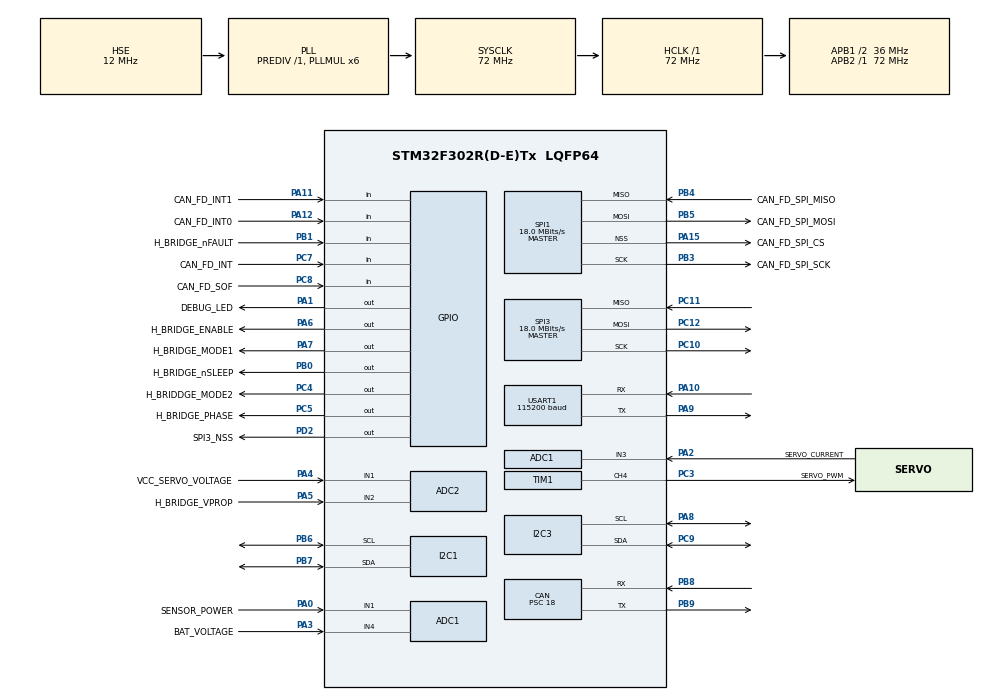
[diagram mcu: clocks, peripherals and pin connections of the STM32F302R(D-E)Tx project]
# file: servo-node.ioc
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ADC1.Channel-0\#ChannelRegularConversion=ADC_CHANNEL_1
ADC1.Channel-1\#ChannelRegularConversion=ADC_CHANNEL_3
ADC1.Channel-2\#ChannelRegularConversion=ADC_CHANNEL_4
ADC1.ContinuousConvMode=ENABLE
ADC1.EnableInjectedConversion=DISABLE
ADC1.NbrOfConversion=3
ADC1.NbrOfConversionFlag=1
ADC1.Offset-0\#ChannelRegularConversion=0
ADC1.Offset-1\#ChannelRegularConversion=0
ADC1.Offset-2\#ChannelRegularConversion=0
ADC1.OffsetNumber-0\#ChannelRegularConversion=ADC_OFFSET_NONE
ADC1.OffsetNumber-1\#ChannelRegularConversion=ADC_OFFSET_NONE
ADC1.OffsetNumber-2\#ChannelRegularConversion=ADC_OFFSET_NONE
ADC1.Rank-0\#ChannelRegularConversion=1
ADC1.Rank-1\#ChannelRegularConversion=2
ADC1.Rank-2\#ChannelRegularConversion=3
ADC1.SamplingTime-0\#ChannelRegularConversion=ADC_SAMPLETIME_19CYCLES_5
ADC1.SamplingTime-1\#ChannelRegularConversion=ADC_SAMPLETIME_19CYCLES_5
ADC1.SamplingTime-2\#ChannelRegularConversion=ADC_SAMPLETIME_19CYCLES_5
ADC1.SamplingTimeOPAMP-1\#ChannelRegularConversion=ADC_SAMPLETIME_19CYCLES_5
ADC1.SamplingTimeOPAMP-2\#ChannelRegularConversion=ADC_SAMPLETIME_19CYCLES_5
ADC1.SequencerNbRanks=3
ADC1.master=1
ADC2.Channel-0\#ChannelRegularConversion=ADC_CHANNEL_1
ADC2.Channel-1\#ChannelRegularConversion=ADC_CHANNEL_2
ADC2.ContinuousConvMode=ENABLE
ADC2.NbrOfConversion=2
ADC2.NbrOfConversionFlag=1
ADC2.Offset-0\#ChannelRegularConversion=0
ADC2.Offset-1\#ChannelRegularConversion=0
ADC2.OffsetNumber-0\#ChannelRegularConversion=ADC_OFFSET_NONE
ADC2.OffsetNumber-1\#ChannelRegularConversion=ADC_OFFSET_NONE
ADC2.Rank-0\#ChannelRegularConversion=1
ADC2.Rank-1\#ChannelRegularConversion=2
ADC2.SamplingTime-0\#ChannelRegularConversion=ADC_SAMPLETIME_19CYCLES_5
ADC2.SamplingTime-1\#ChannelRegularConversion=ADC_SAMPLETIME_19CYCLES_5
ADC2.SamplingTimeOPAMP-1\#ChannelRegularConversion=ADC_SAMPLETIME_19CYCLES_5
ADC2.SequencerNbRanks=2
CAN.BS1=CAN_BS1_13TQ
CAN.BS2=CAN_BS2_2TQ
CAN.CalculateBaudRate=125000
CAN.CalculateTimeBit=8000
CAN.CalculateTimeQuantum=500.0
CAN.Prescaler=18
Dma.ADC1.1.Direction=DMA_PERIPH_TO_MEMORY
Dma.ADC1.1.Instance=DMA1_Channel1
Dma.ADC1.1.MemDataAlignment=DMA_MDATAALIGN_HALFWORD
Dma.ADC1.1.MemInc=DMA_MINC_ENABLE
Dma.ADC1.1.Mode=DMA_NORMAL
Dma.ADC1.1.PeriphDataAlignment=DMA_PDATAALIGN_HALFWORD
Dma.ADC1.1.PeriphInc=DMA_PINC_DISABLE
Dma.ADC1.1.Priority=DMA_PRIORITY_LOW
Dma.ADC2.0.Direction=DMA_PERIPH_TO_MEMORY
Dma.ADC2.0.Instance=DMA2_Channel1
Dma.ADC2.0.MemDataAlignment=DMA_MDATAALIGN_HALFWORD
Dma.ADC2.0.MemInc=DMA_MINC_ENABLE
Dma.ADC2.0.Mode=DMA_NORMAL
Dma.ADC2.0.PeriphDataAlignment=DMA_PDATAALIGN_HALFWORD
Dma.ADC2.0.PeriphInc=DMA_PINC_DISABLE
Dma.ADC2.0.Priority=DMA_PRIORITY_LOW
Dma.Request0=ADC2
Dma.Request1=ADC1
FREERTOS.Tasks01=defaultTask,24,128,StartDefaultTask,Default,NULL,Dynamic,NULL,NULL
I2C1.I2C_Fall_Time=0
I2C1.I2C_Rise_Time=0
I2C1.Timing=0x10808DD3
I2C3.Timing=0x10808DD3
Mcu.Family=STM32F3
Mcu.Name=STM32F302R(D-E)Tx
Mcu.Package=LQFP64
Mcu.UserConstants=PWM_PSC_1MHZ,(72 - 1);PWM_PERIOD_50HZ,(20000 - 1);PWM_MID_POS_PULSE,((PWM_PERIOD_50HZ / 10 + PWM_PERIOD_50HZ / 20) / 2)
NVIC.DMA1_Channel1_IRQn=true\:5\:0\:false\:false\:true\:true\:false\:true\:true
NVIC.DMA2_Channel1_IRQn=true\:5\:0\:false\:false\:true\:true\:false\:true\:true
NVIC.PriorityGroup=NVIC_PRIORITYGROUP_4
NVIC.USB_HP_CAN_TX_IRQn=true\:5\:0\:false\:false\:true\:true\:true\:true\:true
PA0.GPIO_Label=SENSOR_POWER
PA0.Mode=IN1-Single-Ended
PA0.Signal=ADC1_IN1
PA1.GPIO_Label=DEBUG_LED
PA1.Signal=GPIO_Output
PA10.Mode=Asynchronous
PA10.Signal=USART1_RX
PA11.GPIO_Label=CAN_FD_INT1
PA11.Signal=GPIO_Input
PA12.GPIO_Label=CAN_FD_INT0
PA12.Signal=GPIO_Input
PA13.Mode=Serial_Wire
PA13.Signal=SYS_JTMS-SWDIO
PA14.Mode=Serial_Wire
PA14.Signal=SYS_JTCK-SWCLK
PA15.GPIO_Label=CAN_FD_SPI_CS
PA15.Mode=NSS_Signal_Hard_Output
PA15.Signal=SPI1_NSS
PA2.GPIO_Label=SERVO_CURRENT
PA2.Mode=IN3-Single-Ended
PA2.Signal=ADC1_IN3
PA3.GPIO_Label=BAT_VOLTAGE
PA3.Mode=IN4-Single-Ended
PA3.Signal=ADC1_IN4
PA4.GPIO_Label=VCC_SERVO_VOLTAGE
PA4.Mode=IN1-Single-Ended
PA4.Signal=ADC2_IN1
PA5.GPIO_Label=H_BRIDGE_VPROP
PA5.Mode=IN2-Single-Ended
PA5.Signal=ADC2_IN2
PA6.GPIO_Label=H_BRIDGE_ENABLE
PA6.Signal=GPIO_Output
PA7.GPIO_Label=H_BRIDGE_MODE1
PA7.Signal=GPIO_Output
PA8.Mode=I2C
PA8.Signal=I2C3_SCL
PA9.Mode=Asynchronous
PA9.Signal=USART1_TX
PB0.GPIO_Label=H_BRIDGE_nSLEEP
PB0.Signal=GPIO_Output
PB1.GPIO_Label=H_BRIDGE_nFAULT
PB1.Signal=GPIO_Input
PB3.GPIO_Label=CAN_FD_SPI_SCK
PB3.Mode=Full_Duplex_Master
PB3.Signal=SPI1_SCK
PB4.GPIO_Label=CAN_FD_SPI_MISO
PB4.Mode=Full_Duplex_Master
PB4.Signal=SPI1_MISO
PB5.GPIO_Label=CAN_FD_SPI_MOSI
PB5.Mode=Full_Duplex_Master
PB5.Signal=SPI1_MOSI
PB6.Mode=I2C
PB6.Signal=I2C1_SCL
PB7.Mode=I2C
PB7.Signal=I2C1_SDA
PB8.Mode=CAN_Activate
PB8.Signal=CAN_RX
PB9.Mode=CAN_Activate
PB9.Signal=CAN_TX
PC10.Mode=Full_Duplex_Master
PC10.Signal=SPI3_SCK
PC11.Mode=Full_Duplex_Master
PC11.Signal=SPI3_MISO
PC12.Mode=Full_Duplex_Master
PC12.Signal=SPI3_MOSI
PC3.GPIO_Label=SERVO_PWM
PC3.GPIO_Speed=GPIO_SPEED_FREQ_HIGH
PC3.Signal=S_TIM1_CH4
PC4.GPIO_Label=H_BRIDDGE_MODE2
PC4.Signal=GPIO_Output
PC5.GPIO_Label=H_BRIDGE_PHASE
PC5.Signal=GPIO_Output
PC7.GPIO_Label=CAN_FD_INT
PC7.Signal=GPIO_Input
PC8.GPIO_Label=CAN_FD_SOF
PC8.Signal=GPIO_Input
PC9.Mode=I2C
PC9.Signal=I2C3_SDA
PD2.GPIO_Label=SPI3_NSS
PD2.Signal=GPIO_Output
PF0-OSC_IN.Mode=HSE-External-Oscillator
PF0-OSC_IN.Signal=RCC_OSC_IN
PF1-OSC_OUT.Mode=HSE-External-Oscillator
PF1-OSC_OUT.Signal=RCC_OSC_OUT
ProjectManager.HeapSize=0x200
ProjectManager.StackSize=0x400
ProjectManager.TargetToolchain=Makefile
RCC.AHBFreq_Value=72000000
RCC.APB1CLKDivider=RCC_HCLK_DIV2
RCC.APB1Freq_Value=36000000
RCC.APB1TimFreq_Value=72000000
RCC.APB2Freq_Value=72000000
RCC.APB2TimFreq_Value=72000000
RCC.CortexFreq_Value=72000000
RCC.HCLKFreq_Value=72000000
RCC.HSE_VALUE=12000000
RCC.HSI_VALUE=8000000
RCC.I2c1ClockSelection=RCC_I2C1CLKSOURCE_SYSCLK
RCC.I2c3ClockSelection=RCC_I2C3CLKSOURCE_SYSCLK
RCC.LSE_VALUE=32768
RCC.PLLMUL=RCC_PLL_MUL6
RCC.PLLSourceVirtual=RCC_PLLSOURCE_HSE
RCC.SYSCLKFreq_VALUE=72000000
RCC.SYSCLKSourceVirtual=RCC_SYSCLKSOURCE_PLLCLK
RCC.USBFreq_Value=72000000
SH.S_TIM1_CH4.0=TIM1_CH4,PWM Generation4 CH4
SPI1.BaudRatePrescaler=SPI_BAUDRATEPRESCALER_4
SPI1.CalculateBaudRate=18.0 MBits/s
SPI1.Direction=SPI_DIRECTION_2LINES
SPI1.Mode=SPI_MODE_MASTER
SPI1.VirtualNSS=VM_NSSHARD
SPI1.VirtualType=VM_MASTER
SPI3.BaudRatePrescaler=SPI_BAUDRATEPRESCALER_2
SPI3.CalculateBaudRate=18.0 MBits/s
SPI3.Direction=SPI_DIRECTION_2LINES
SPI3.Mode=SPI_MODE_MASTER
SPI3.VirtualType=VM_MASTER
TIM1.AutoReloadPreload=TIM_AUTORELOAD_PRELOAD_ENABLE
TIM1.Channel-PWM\ Generation4\ CH4=TIM_CHANNEL_4
TIM1.OCFastMode_PWM-PWM\ Generation4\ CH4=TIM_OCFAST_DISABLE
TIM1.Period=PWM_PERIOD_50HZ
TIM1.Prescaler=PWM_PSC_1MHZ
TIM1.Pulse=PWM_MID_POS_PULSE
TIM1.Pulse-PWM\ Generation4\ CH4=PWM_MID_POS_PULSE
USART1.BaudRate=115200
USART1.VirtualMode-Asynchronous=VM_ASYNC
VP_FREERTOS_VS_CMSIS_V2.Mode=CMSIS_V2
VP_TIM1_VS_ClockSourceINT.Mode=Internal
board=custom

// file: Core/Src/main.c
/* USER CODE BEGIN Header */
/**
 ******************************************************************************
 * @file           : main.c
 * @brief          : Main program body
 ******************************************************************************
 * @attention
 *
 * Copyright (c) 2023 STMicroelectronics.
 * All rights reserved.
 *
 * This software is licensed under terms that can be found in the LICENSE file
 * in the root directory of this software component.
 * If no LICENSE file comes with this software, it is provided AS-IS.
 *
 ******************************************************************************
 */

// Disable warnings for generated code
// NOLINTBEGIN(cppcoreguidelines-avoid-magic-numbers,readability-magic-numbers)

/* USER CODE END Header */
#include "main.h"

#include "cmsis_os.h"

/* USER CODE BEGIN Includes */
#include <stdio.h>
#include <string.h>

#include "app.h"
#include "queue.h"
#include "task.h"
#include "timers.h"
#include "utils.h"

/* USER CODE END Includes */

/* USER CODE BEGIN PD */

// How often the periodic tasks should run (ms)
#define DEFAULT_TASK_PERIOD_MS 20
#define MEASURE_TASK_PERIOD_MS 100

#define CAN_MESSAGE_QUEUE_LENGTH 10

/* USER CODE END PD */

ADC_HandleTypeDef hadc1;
ADC_HandleTypeDef hadc2;
DMA_HandleTypeDef hdma_adc1;
DMA_HandleTypeDef hdma_adc2;

CAN_HandleTypeDef hcan;

I2C_HandleTypeDef hi2c1;
I2C_HandleTypeDef hi2c3;

SPI_HandleTypeDef hspi1;
SPI_HandleTypeDef hspi3;

TIM_HandleTypeDef htim1;

UART_HandleTypeDef huart1;

/* Definitions for defaultTask */
osThreadId_t defaultTaskHandle;
const osThreadAttr_t defaultTask_attributes = {
    .name = "defaultTask",
    .stack_size = 128 * 4,
    .priority = (osPriority_t)osPriorityNormal,
};
/* USER CODE BEGIN PV */

osThreadId_t CANTxTaskHandle;
const osThreadAttr_t CANTxTask_attributes = {
    .name = "CANTxTask",
    .stack_size = 128 * 4,
    .priority = (osPriority_t)osPriorityBelowNormal,
};

osThreadId_t measureTaskHandle;
const osThreadAttr_t measureTask_attributes = {
    .name = "measureTask",
    .stack_size = 128 * 4,
    .priority = (osPriority_t)osPriorityBelowNormal,
};

QueueHandle_t CANMessageQueue;

/* USER CODE END PV */

void SystemClock_Config(void);
static void MX_GPIO_Init(void);
static void MX_DMA_Init(void);
static void MX_CAN_Init(void);
static void MX_USART1_UART_Init(void);
static void MX_SPI1_Init(void);
static void MX_ADC1_Init(void);
static void MX_ADC2_Init(void);
static void MX_I2C1_Init(void);
static void MX_I2C3_Init(void);
static void MX_SPI3_Init(void);
static void MX_TIM1_Init(void);
void StartDefaultTask(void *argument);

/* USER CODE BEGIN PFP */

void StartCANTxTask(void *argument);
void StartMeasureTask(void *argument);

/* USER CODE END PFP */

int main(void) {

  /* MCU Configuration--------------------------------------------------------*/

  /* Reset of all peripherals, Initializes the Flash interface and the Systick.
   */
  HAL_Init();

  /* USER CODE BEGIN Init */

  if (FlashRWInit() != APP_OK) {
    Error_Handler();
  }

  /* USER CODE END Init */

  /* Configure the system clock */
  SystemClock_Config();

  /* Initialize all configured peripherals */
  MX_GPIO_Init();
  MX_DMA_Init();
  MX_CAN_Init();
  MX_USART1_UART_Init();
  MX_SPI1_Init();
  MX_ADC1_Init();
  MX_ADC2_Init();
  MX_I2C1_Init();
  MX_I2C3_Init();
  MX_SPI3_Init();
  MX_TIM1_Init();
  /* USER CODE BEGIN 2 */

  InitPotentiometers();

  /* USER CODE END 2 */

  /* Init scheduler */
  osKernelInitialize();

  /* USER CODE BEGIN RTOS_QUEUES */

  CANMessageQueue = xQueueCreate(CAN_MESSAGE_QUEUE_LENGTH, sizeof(CANFrame));

  /* USER CODE END RTOS_QUEUES */

  /* Create the thread(s) */
  /* creation of defaultTask */
  defaultTaskHandle =
      osThreadNew(StartDefaultTask, NULL, &defaultTask_attributes);

  /* USER CODE BEGIN RTOS_THREADS */

  CANTxTaskHandle = osThreadNew(StartCANTxTask, NULL, &CANTxTask_attributes);
  measureTaskHandle =
      osThreadNew(StartMeasureTask, NULL, &measureTask_attributes);

  /* USER CODE END RTOS_THREADS */

  /* Start scheduler */
  osKernelStart();
  /* We should never get here as control is now taken by the scheduler */
  /* Infinite loop */
  while (1) {

  }
}

void SystemClock_Config(void) {
  RCC_OscInitTypeDef RCC_OscInitStruct = {0};
  RCC_ClkInitTypeDef RCC_ClkInitStruct = {0};
  RCC_PeriphCLKInitTypeDef PeriphClkInit = {0};

  /** Initializes the RCC Oscillators according to the specified parameters
   * in the RCC_OscInitTypeDef structure.
   */
  RCC_OscInitStruct.OscillatorType = RCC_OSCILLATORTYPE_HSE;
  RCC_OscInitStruct.HSEState = RCC_HSE_ON;
  RCC_OscInitStruct.HSIState = RCC_HSI_ON;
  RCC_OscInitStruct.PLL.PLLState = RCC_PLL_ON;
  RCC_OscInitStruct.PLL.PLLSource = RCC_PLLSOURCE_HSE;
  RCC_OscInitStruct.PLL.PLLMUL = RCC_PLL_MUL6;
  RCC_OscInitStruct.PLL.PREDIV = RCC_PREDIV_DIV1;
  if (HAL_RCC_OscConfig(&RCC_OscInitStruct) != HAL_OK) {
    Error_Handler();
  }

  /** Initializes the CPU, AHB and APB buses clocks
   */
  RCC_ClkInitStruct.ClockType = RCC_CLOCKTYPE_HCLK | RCC_CLOCKTYPE_SYSCLK |
                                RCC_CLOCKTYPE_PCLK1 | RCC_CLOCKTYPE_PCLK2;
  RCC_ClkInitStruct.SYSCLKSource = RCC_SYSCLKSOURCE_PLLCLK;
  RCC_ClkInitStruct.AHBCLKDivider = RCC_SYSCLK_DIV1;
  RCC_ClkInitStruct.APB1CLKDivider = RCC_HCLK_DIV2;
  RCC_ClkInitStruct.APB2CLKDivider = RCC_HCLK_DIV1;

  if (HAL_RCC_ClockConfig(&RCC_ClkInitStruct, FLASH_LATENCY_2) != HAL_OK) {
    Error_Handler();
  }
  PeriphClkInit.PeriphClockSelection = RCC_PERIPHCLK_USART1 |
                                       RCC_PERIPHCLK_I2C1 | RCC_PERIPHCLK_I2C3 |
                                       RCC_PERIPHCLK_TIM1 | RCC_PERIPHCLK_ADC12;
  PeriphClkInit.Usart1ClockSelection = RCC_USART1CLKSOURCE_PCLK2;
  PeriphClkInit.Adc12ClockSelection = RCC_ADC12PLLCLK_DIV1;
  PeriphClkInit.I2c1ClockSelection = RCC_I2C1CLKSOURCE_SYSCLK;
  PeriphClkInit.I2c3ClockSelection = RCC_I2C3CLKSOURCE_SYSCLK;
  PeriphClkInit.Tim1ClockSelection = RCC_TIM1CLK_HCLK;
  if (HAL_RCCEx_PeriphCLKConfig(&PeriphClkInit) != HAL_OK) {
    Error_Handler();
  }
}

static void MX_ADC1_Init(void) {

  ADC_MultiModeTypeDef multimode = {0};
  ADC_ChannelConfTypeDef sConfig = {0};

  /** Common config
   */
  hadc1.Instance = ADC1;
  hadc1.Init.ClockPrescaler = ADC_CLOCK_ASYNC_DIV1;
  hadc1.Init.Resolution = ADC_RESOLUTION_12B;
  hadc1.Init.ScanConvMode = ADC_SCAN_ENABLE;
  hadc1.Init.ContinuousConvMode = ENABLE;
  hadc1.Init.DiscontinuousConvMode = DISABLE;
  hadc1.Init.ExternalTrigConvEdge = ADC_EXTERNALTRIGCONVEDGE_NONE;
  hadc1.Init.ExternalTrigConv = ADC_SOFTWARE_START;
  hadc1.Init.DataAlign = ADC_DATAALIGN_RIGHT;
  hadc1.Init.NbrOfConversion = 3;
  hadc1.Init.DMAContinuousRequests = DISABLE;
  hadc1.Init.EOCSelection = ADC_EOC_SINGLE_CONV;
  hadc1.Init.LowPowerAutoWait = DISABLE;
  hadc1.Init.Overrun = ADC_OVR_DATA_OVERWRITTEN;
  if (HAL_ADC_Init(&hadc1) != HAL_OK) {
    Error_Handler();
  }

  /** Configure the ADC multi-mode
   */
  multimode.Mode = ADC_MODE_INDEPENDENT;
  if (HAL_ADCEx_MultiModeConfigChannel(&hadc1, &multimode) != HAL_OK) {
    Error_Handler();
  }

  /** Configure Regular Channel
   */
  sConfig.Channel = ADC_CHANNEL_1;
  sConfig.Rank = ADC_REGULAR_RANK_1;
  sConfig.SingleDiff = ADC_SINGLE_ENDED;
  sConfig.SamplingTime = ADC_SAMPLETIME_19CYCLES_5;
  sConfig.OffsetNumber = ADC_OFFSET_NONE;
  sConfig.Offset = 0;
  if (HAL_ADC_ConfigChannel(&hadc1, &sConfig) != HAL_OK) {
    Error_Handler();
  }

  /** Configure Regular Channel
   */
  sConfig.Channel = ADC_CHANNEL_3;
  sConfig.Rank = ADC_REGULAR_RANK_2;
  if (HAL_ADC_ConfigChannel(&hadc1, &sConfig) != HAL_OK) {
    Error_Handler();
  }

  /** Configure Regular Channel
   */
  sConfig.Channel = ADC_CHANNEL_4;
  sConfig.Rank = ADC_REGULAR_RANK_3;
  if (HAL_ADC_ConfigChannel(&hadc1, &sConfig) != HAL_OK) {
    Error_Handler();
  }
  /* USER CODE BEGIN ADC1_Init 2 */

  if (HAL_ADCEx_Calibration_Start(&hadc1, ADC_SINGLE_ENDED) != HAL_OK) {
    Error_Handler();
  }

  /* USER CODE END ADC1_Init 2 */
}

static void MX_ADC2_Init(void) {

  ADC_ChannelConfTypeDef sConfig = {0};

  /** Common config
   */
  hadc2.Instance = ADC2;
  hadc2.Init.ClockPrescaler = ADC_CLOCK_ASYNC_DIV1;
  hadc2.Init.Resolution = ADC_RESOLUTION_12B;
  hadc2.Init.ScanConvMode = ADC_SCAN_ENABLE;
  hadc2.Init.ContinuousConvMode = ENABLE;
  hadc2.Init.DiscontinuousConvMode = DISABLE;
  hadc2.Init.ExternalTrigConvEdge = ADC_EXTERNALTRIGCONVEDGE_NONE;
  hadc2.Init.ExternalTrigConv = ADC_SOFTWARE_START;
  hadc2.Init.DataAlign = ADC_DATAALIGN_RIGHT;
  hadc2.Init.NbrOfConversion = 2;
  hadc2.Init.DMAContinuousRequests = DISABLE;
  hadc2.Init.EOCSelection = ADC_EOC_SINGLE_CONV;
  hadc2.Init.LowPowerAutoWait = DISABLE;
  hadc2.Init.Overrun = ADC_OVR_DATA_OVERWRITTEN;
  if (HAL_ADC_Init(&hadc2) != HAL_OK) {
    Error_Handler();
  }

  /** Configure Regular Channel
   */
  sConfig.Channel = ADC_CHANNEL_1;
  sConfig.Rank = ADC_REGULAR_RANK_1;
  sConfig.SingleDiff = ADC_SINGLE_ENDED;
  sConfig.SamplingTime = ADC_SAMPLETIME_19CYCLES_5;
  sConfig.OffsetNumber = ADC_OFFSET_NONE;
  sConfig.Offset = 0;
  if (HAL_ADC_ConfigChannel(&hadc2, &sConfig) != HAL_OK) {
    Error_Handler();
  }

  /** Configure Regular Channel
   */
  sConfig.Channel = ADC_CHANNEL_2;
  sConfig.Rank = ADC_REGULAR_RANK_2;
  if (HAL_ADC_ConfigChannel(&hadc2, &sConfig) != HAL_OK) {
    Error_Handler();
  }
  /* USER CODE BEGIN ADC2_Init 2 */

  if (HAL_ADCEx_Calibration_Start(&hadc2, ADC_SINGLE_ENDED) != HAL_OK) {
    Error_Handler();
  }

  /* USER CODE END ADC2_Init 2 */
}

static void MX_CAN_Init(void) {

  hcan.Instance = CAN;
  hcan.Init.Prescaler = 18;
  hcan.Init.Mode = CAN_MODE_NORMAL;
  hcan.Init.SyncJumpWidth = CAN_SJW_1TQ;
  hcan.Init.TimeSeg1 = CAN_BS1_13TQ;
  hcan.Init.TimeSeg2 = CAN_BS2_2TQ;
  hcan.Init.TimeTriggeredMode = DISABLE;
  hcan.Init.AutoBusOff = DISABLE;
  hcan.Init.AutoWakeUp = DISABLE;
  hcan.Init.AutoRetransmission = DISABLE;
  hcan.Init.ReceiveFifoLocked = DISABLE;
  hcan.Init.TransmitFifoPriority = DISABLE;
  if (HAL_CAN_Init(&hcan) != HAL_OK) {
    Error_Handler();
  }
}

static void MX_I2C1_Init(void) {

  hi2c1.Instance = I2C1;
  hi2c1.Init.Timing = 0x10808DD3;
  hi2c1.Init.OwnAddress1 = 0;
  hi2c1.Init.AddressingMode = I2C_ADDRESSINGMODE_7BIT;
  hi2c1.Init.DualAddressMode = I2C_DUALADDRESS_DISABLE;
  hi2c1.Init.OwnAddress2 = 0;
  hi2c1.Init.OwnAddress2Masks = I2C_OA2_NOMASK;
  hi2c1.Init.GeneralCallMode = I2C_GENERALCALL_DISABLE;
  hi2c1.Init.NoStretchMode = I2C_NOSTRETCH_DISABLE;
  if (HAL_I2C_Init(&hi2c1) != HAL_OK) {
    Error_Handler();
  }

  /** Configure Analogue filter
   */
  if (HAL_I2CEx_ConfigAnalogFilter(&hi2c1, I2C_ANALOGFILTER_ENABLE) != HAL_OK) {
    Error_Handler();
  }

  /** Configure Digital filter
   */
  if (HAL_I2CEx_ConfigDigitalFilter(&hi2c1, 0) != HAL_OK) {
    Error_Handler();
  }
}

static void MX_I2C3_Init(void) {

  hi2c3.Instance = I2C3;
  hi2c3.Init.Timing = 0x10808DD3;
  hi2c3.Init.OwnAddress1 = 0;
  hi2c3.Init.AddressingMode = I2C_ADDRESSINGMODE_7BIT;
  hi2c3.Init.DualAddressMode = I2C_DUALADDRESS_DISABLE;
  hi2c3.Init.OwnAddress2 = 0;
  hi2c3.Init.OwnAddress2Masks = I2C_OA2_NOMASK;
  hi2c3.Init.GeneralCallMode = I2C_GENERALCALL_DISABLE;
  hi2c3.Init.NoStretchMode = I2C_NOSTRETCH_DISABLE;
  if (HAL_I2C_Init(&hi2c3) != HAL_OK) {
    Error_Handler();
  }

  /** Configure Analogue filter
   */
  if (HAL_I2CEx_ConfigAnalogFilter(&hi2c3, I2C_ANALOGFILTER_ENABLE) != HAL_OK) {
    Error_Handler();
  }

  /** Configure Digital filter
   */
  if (HAL_I2CEx_ConfigDigitalFilter(&hi2c3, 0) != HAL_OK) {
    Error_Handler();
  }
}

static void MX_SPI1_Init(void) {

  /* SPI1 parameter configuration*/
  hspi1.Instance = SPI1;
  hspi1.Init.Mode = SPI_MODE_MASTER;
  hspi1.Init.Direction = SPI_DIRECTION_2LINES;
  hspi1.Init.DataSize = SPI_DATASIZE_4BIT;
  hspi1.Init.CLKPolarity = SPI_POLARITY_LOW;
  hspi1.Init.CLKPhase = SPI_PHASE_1EDGE;
  hspi1.Init.NSS = SPI_NSS_HARD_OUTPUT;
  hspi1.Init.BaudRatePrescaler = SPI_BAUDRATEPRESCALER_4;
  hspi1.Init.FirstBit = SPI_FIRSTBIT_MSB;
  hspi1.Init.TIMode = SPI_TIMODE_DISABLE;
  hspi1.Init.CRCCalculation = SPI_CRCCALCULATION_DISABLE;
  hspi1.Init.CRCPolynomial = 7;
  hspi1.Init.CRCLength = SPI_CRC_LENGTH_DATASIZE;
  hspi1.Init.NSSPMode = SPI_NSS_PULSE_ENABLE;
  if (HAL_SPI_Init(&hspi1) != HAL_OK) {
    Error_Handler();
  }
}

static void MX_SPI3_Init(void) {

  /* SPI3 parameter configuration*/
  hspi3.Instance = SPI3;
  hspi3.Init.Mode = SPI_MODE_MASTER;
  hspi3.Init.Direction = SPI_DIRECTION_2LINES;
  hspi3.Init.DataSize = SPI_DATASIZE_4BIT;
  hspi3.Init.CLKPolarity = SPI_POLARITY_LOW;
  hspi3.Init.CLKPhase = SPI_PHASE_1EDGE;
  hspi3.Init.NSS = SPI_NSS_SOFT;
  hspi3.Init.BaudRatePrescaler = SPI_BAUDRATEPRESCALER_2;
  hspi3.Init.FirstBit = SPI_FIRSTBIT_MSB;
  hspi3.Init.TIMode = SPI_TIMODE_DISABLE;
  hspi3.Init.CRCCalculation = SPI_CRCCALCULATION_DISABLE;
  hspi3.Init.CRCPolynomial = 7;
  hspi3.Init.CRCLength = SPI_CRC_LENGTH_DATASIZE;
  hspi3.Init.NSSPMode = SPI_NSS_PULSE_ENABLE;
  if (HAL_SPI_Init(&hspi3) != HAL_OK) {
    Error_Handler();
  }
}

static void MX_TIM1_Init(void) {

  TIM_ClockConfigTypeDef sClockSourceConfig = {0};
  TIM_MasterConfigTypeDef sMasterConfig = {0};
  TIM_OC_InitTypeDef sConfigOC = {0};
  TIM_BreakDeadTimeConfigTypeDef sBreakDeadTimeConfig = {0};

  htim1.Instance = TIM1;
  htim1.Init.Prescaler = PWM_PSC_1MHZ;
  htim1.Init.CounterMode = TIM_COUNTERMODE_UP;
  htim1.Init.Period = PWM_PERIOD_50HZ;
  htim1.Init.ClockDivision = TIM_CLOCKDIVISION_DIV1;
  htim1.Init.RepetitionCounter = 0;
  htim1.Init.AutoReloadPreload = TIM_AUTORELOAD_PRELOAD_ENABLE;
  if (HAL_TIM_Base_Init(&htim1) != HAL_OK) {
    Error_Handler();
  }
  sClockSourceConfig.ClockSource = TIM_CLOCKSOURCE_INTERNAL;
  if (HAL_TIM_ConfigClockSource(&htim1, &sClockSourceConfig) != HAL_OK) {
    Error_Handler();
  }
  if (HAL_TIM_PWM_Init(&htim1) != HAL_OK) {
    Error_Handler();
  }
  sMasterConfig.MasterOutputTrigger = TIM_TRGO_RESET;
  sMasterConfig.MasterOutputTrigger2 = TIM_TRGO2_RESET;
  sMasterConfig.MasterSlaveMode = TIM_MASTERSLAVEMODE_DISABLE;
  if (HAL_TIMEx_MasterConfigSynchronization(&htim1, &sMasterConfig) != HAL_OK) {
    Error_Handler();
  }
  sConfigOC.OCMode = TIM_OCMODE_PWM1;
  sConfigOC.Pulse = PWM_MID_POS_PULSE;
  sConfigOC.OCPolarity = TIM_OCPOLARITY_HIGH;
  sConfigOC.OCFastMode = TIM_OCFAST_DISABLE;
  sConfigOC.OCIdleState = TIM_OCIDLESTATE_RESET;
  sConfigOC.OCNIdleState = TIM_OCNIDLESTATE_RESET;
  if (HAL_TIM_PWM_ConfigChannel(&htim1, &sConfigOC, TIM_CHANNEL_4) != HAL_OK) {
    Error_Handler();
  }
  sBreakDeadTimeConfig.OffStateRunMode = TIM_OSSR_DISABLE;
  sBreakDeadTimeConfig.OffStateIDLEMode = TIM_OSSI_DISABLE;
  sBreakDeadTimeConfig.LockLevel = TIM_LOCKLEVEL_OFF;
  sBreakDeadTimeConfig.DeadTime = 0;
  sBreakDeadTimeConfig.BreakState = TIM_BREAK_DISABLE;
  sBreakDeadTimeConfig.BreakPolarity = TIM_BREAKPOLARITY_HIGH;
  sBreakDeadTimeConfig.BreakFilter = 0;
  sBreakDeadTimeConfig.Break2State = TIM_BREAK2_DISABLE;
  sBreakDeadTimeConfig.Break2Polarity = TIM_BREAK2POLARITY_HIGH;
  sBreakDeadTimeConfig.Break2Filter = 0;
  sBreakDeadTimeConfig.AutomaticOutput = TIM_AUTOMATICOUTPUT_DISABLE;
  if (HAL_TIMEx_ConfigBreakDeadTime(&htim1, &sBreakDeadTimeConfig) != HAL_OK) {
    Error_Handler();
  }
  HAL_TIM_MspPostInit(&htim1);
}

static void MX_USART1_UART_Init(void) {

  huart1.Instance = USART1;
  huart1.Init.BaudRate = 115200;
  huart1.Init.WordLength = UART_WORDLENGTH_8B;
  huart1.Init.StopBits = UART_STOPBITS_1;
  huart1.Init.Parity = UART_PARITY_NONE;
  huart1.Init.Mode = UART_MODE_TX_RX;
  huart1.Init.HwFlowCtl = UART_HWCONTROL_NONE;
  huart1.Init.OverSampling = UART_OVERSAMPLING_16;
  huart1.Init.OneBitSampling = UART_ONE_BIT_SAMPLE_DISABLE;
  huart1.AdvancedInit.AdvFeatureInit = UART_ADVFEATURE_NO_INIT;
  if (HAL_UART_Init(&huart1) != HAL_OK) {
    Error_Handler();
  }
}

static void MX_DMA_Init(void) {
  /* DMA controller clock enable */
  __HAL_RCC_DMA2_CLK_ENABLE();
  __HAL_RCC_DMA1_CLK_ENABLE();

  /* DMA interrupt init */
  /* DMA1_Channel1_IRQn interrupt configuration */
  HAL_NVIC_SetPriority(DMA1_Channel1_IRQn, 5, 0);
  HAL_NVIC_EnableIRQ(DMA1_Channel1_IRQn);
  /* DMA2_Channel1_IRQn interrupt configuration */
  HAL_NVIC_SetPriority(DMA2_Channel1_IRQn, 5, 0);
  HAL_NVIC_EnableIRQ(DMA2_Channel1_IRQn);
}

static void MX_GPIO_Init(void) {
  GPIO_InitTypeDef GPIO_InitStruct = {0};

  /* GPIO Ports Clock Enable */
  __HAL_RCC_GPIOF_CLK_ENABLE();
  __HAL_RCC_GPIOC_CLK_ENABLE();
  __HAL_RCC_GPIOA_CLK_ENABLE();
  __HAL_RCC_GPIOB_CLK_ENABLE();
  __HAL_RCC_GPIOD_CLK_ENABLE();

  /*Configure GPIO pin Output Level */
  HAL_GPIO_WritePin(GPIOA,
                    DEBUG_LED_Pin | H_BRIDGE_ENABLE_Pin | H_BRIDGE_MODE1_Pin,
                    GPIO_PIN_RESET);

  /*Configure GPIO pin Output Level */
  HAL_GPIO_WritePin(GPIOC, H_BRIDDGE_MODE2_Pin | H_BRIDGE_PHASE_Pin,
                    GPIO_PIN_RESET);

  /*Configure GPIO pin Output Level */
  HAL_GPIO_WritePin(H_BRIDGE_nSLEEP_GPIO_Port, H_BRIDGE_nSLEEP_Pin,
                    GPIO_PIN_RESET);

  /*Configure GPIO pin Output Level */
  HAL_GPIO_WritePin(SPI3_NSS_GPIO_Port, SPI3_NSS_Pin, GPIO_PIN_RESET);

  /*Configure GPIO pins : DEBUG_LED_Pin H_BRIDGE_ENABLE_Pin H_BRIDGE_MODE1_Pin
   */
  GPIO_InitStruct.Pin =
      DEBUG_LED_Pin | H_BRIDGE_ENABLE_Pin | H_BRIDGE_MODE1_Pin;
  GPIO_InitStruct.Mode = GPIO_MODE_OUTPUT_PP;
  GPIO_InitStruct.Pull = GPIO_NOPULL;
  GPIO_InitStruct.Speed = GPIO_SPEED_FREQ_LOW;
  HAL_GPIO_Init(GPIOA, &GPIO_InitStruct);

  /*Configure GPIO pins : H_BRIDDGE_MODE2_Pin H_BRIDGE_PHASE_Pin */
  GPIO_InitStruct.Pin = H_BRIDDGE_MODE2_Pin | H_BRIDGE_PHASE_Pin;
  GPIO_InitStruct.Mode = GPIO_MODE_OUTPUT_PP;
  GPIO_InitStruct.Pull = GPIO_NOPULL;
  GPIO_InitStruct.Speed = GPIO_SPEED_FREQ_LOW;
  HAL_GPIO_Init(GPIOC, &GPIO_InitStruct);

  /*Configure GPIO pin : H_BRIDGE_nSLEEP_Pin */
  GPIO_InitStruct.Pin = H_BRIDGE_nSLEEP_Pin;
  GPIO_InitStruct.Mode = GPIO_MODE_OUTPUT_PP;
  GPIO_InitStruct.Pull = GPIO_NOPULL;
  GPIO_InitStruct.Speed = GPIO_SPEED_FREQ_LOW;
  HAL_GPIO_Init(H_BRIDGE_nSLEEP_GPIO_Port, &GPIO_InitStruct);

  /*Configure GPIO pin : H_BRIDGE_nFAULT_Pin */
  GPIO_InitStruct.Pin = H_BRIDGE_nFAULT_Pin;
  GPIO_InitStruct.Mode = GPIO_MODE_INPUT;
  GPIO_InitStruct.Pull = GPIO_NOPULL;
  HAL_GPIO_Init(H_BRIDGE_nFAULT_GPIO_Port, &GPIO_InitStruct);

  /*Configure GPIO pins : CAN_FD_INT_Pin CAN_FD_SOF_Pin */
  GPIO_InitStruct.Pin = CAN_FD_INT_Pin | CAN_FD_SOF_Pin;
  GPIO_InitStruct.Mode = GPIO_MODE_INPUT;
  GPIO_InitStruct.Pull = GPIO_NOPULL;
  HAL_GPIO_Init(GPIOC, &GPIO_InitStruct);

  /*Configure GPIO pins : CAN_FD_INT1_Pin CAN_FD_INT0_Pin */
  GPIO_InitStruct.Pin = CAN_FD_INT1_Pin | CAN_FD_INT0_Pin;
  GPIO_InitStruct.Mode = GPIO_MODE_INPUT;
  GPIO_InitStruct.Pull = GPIO_NOPULL;
  HAL_GPIO_Init(GPIOA, &GPIO_InitStruct);

  /*Configure GPIO pin : SPI3_NSS_Pin */
  GPIO_InitStruct.Pin = SPI3_NSS_Pin;
  GPIO_InitStruct.Mode = GPIO_MODE_OUTPUT_PP;
  GPIO_InitStruct.Pull = GPIO_NOPULL;
  GPIO_InitStruct.Speed = GPIO_SPEED_FREQ_LOW;
  HAL_GPIO_Init(SPI3_NSS_GPIO_Port, &GPIO_InitStruct);

}

/* USER CODE BEGIN 4 */

// NOLINTEND(cppcoreguidelines-avoid-magic-numbers,readability-magic-numbers)

void HAL_ADC_ConvCpltCallback(ADC_HandleTypeDef *hadc) {
  UNUSED(hadc);
  NotifyTask(measureTaskHandle);
}

void defaultTaskTimer(TimerHandle_t xTimer) {
  UNUSED(xTimer);
  NotifyTask(defaultTaskHandle);
}

void measureTaskTimer(TimerHandle_t xTimer) {
  UNUSED(xTimer);
  NotifyTask(measureTaskHandle);
}

void mailboxFreeCallback(CAN_HandleTypeDef *_hcan) {
  // Only notify when going from 0 free mailboxes to 1 free
  if (HAL_CAN_GetTxMailboxesFreeLevel(_hcan) <= 1) {
    NotifyTask(CANTxTaskHandle);
  }
}

void HAL_CAN_TxMailbox0CompleteCallback(CAN_HandleTypeDef *_hcan) {
  mailboxFreeCallback(_hcan);
}

void HAL_CAN_TxMailbox1CompleteCallback(CAN_HandleTypeDef *_hcan) {
  mailboxFreeCallback(_hcan);
}

void HAL_CAN_TxMailbox2CompleteCallback(CAN_HandleTypeDef *_hcan) {
  mailboxFreeCallback(_hcan);
}

void StartCANTxTask(void *argument) {
  UNUSED(argument);

  HAL_CAN_ActivateNotification(&hcan, CAN_IT_TX_MAILBOX_EMPTY);
  HAL_CAN_Start(&hcan);

  uint32_t mailbox = 0;

  for (;;) {
    if (HAL_CAN_GetTxMailboxesFreeLevel(&hcan) == 0) {
      // Wait for mailbox to become available
      ulTaskNotifyTake(pdTRUE, portMAX_DELAY);
    }

    CANFrame frame;
    // Wait for queue to receive message
    xQueueReceive(CANMessageQueue, &frame, portMAX_DELAY);

    CAN_TxHeaderTypeDef header = {
        .StdId = frame.id,
        .DLC = frame.dlc,
    };

    HAL_CAN_AddTxMessage(&hcan, &header, frame.data, &mailbox);
  }
}

void StartMeasureTask(void *argument) {
  UNUSED(argument);

  TimerHandle_t xTimer =
      xTimerCreate("measureTaskTimer", pdMS_TO_TICKS(MEASURE_TASK_PERIOD_MS),
                   pdTRUE,  // Auto reload timer
                   NULL,    // Timer ID, unused
                   measureTaskTimer);

  xTimerStart(xTimer, portMAX_DELAY);

  uint16_t adc1Buf[4];
  uint16_t adc2Buf[4];

  CANFrame sensorPowerMessage;
  CANFrame servoCurrentMessage;
  CANFrame batteryVoltageMessage;
  CANFrame vccServoVoltageMessage;
  CANFrame hBridgeWindingCurrentMessage;

  for (;;) {
    ulTaskNotifyTake(pdTRUE, portMAX_DELAY);  // Wait for task activation

    // Start both ADCs
    HAL_ADC_Start_DMA(&hadc1, (uint32_t *)adc1Buf,
                      sizeof(adc1Buf) / sizeof(uint16_t));
    HAL_ADC_Start_DMA(&hadc2, (uint32_t *)adc2Buf,
                      sizeof(adc2Buf) / sizeof(uint16_t));

    // Wait for DMA
    ulTaskNotifyTake(pdTRUE, portMAX_DELAY);

    ADCToSensorPowerMessage(adc1Buf[0], &sensorPowerMessage);
    ADCToServoCurrentMessage(adc1Buf[2], &servoCurrentMessage);
    ADCToBatteryVoltageMessage(adc1Buf[3], &batteryVoltageMessage);
    ADCToVCCServoVoltageMessage(adc2Buf[0], &vccServoVoltageMessage);
    ADCToHBridgeWindingCurrentMessage(adc2Buf[1],
                                      &hBridgeWindingCurrentMessage);

    xQueueSendToBack(CANMessageQueue, &sensorPowerMessage, 0);
    xQueueSendToBack(CANMessageQueue, &servoCurrentMessage, 0);
    xQueueSendToBack(CANMessageQueue, &batteryVoltageMessage, 0);
    xQueueSendToBack(CANMessageQueue, &vccServoVoltageMessage, 0);
    xQueueSendToBack(CANMessageQueue, &hBridgeWindingCurrentMessage, 0);
  }
}

/* USER CODE END 4 */

void StartDefaultTask(void *argument) {
  /* USER CODE BEGIN 5 */
  UNUSED(argument);

  Print("Starting application...\r\n");

  TimerHandle_t xTimer =
      xTimerCreate("defaultTaskTimer", pdMS_TO_TICKS(DEFAULT_TASK_PERIOD_MS),
                   pdTRUE,  // Auto reload timer
                   NULL,    // Timer ID, unused
                   defaultTaskTimer);

  xTimerStart(xTimer, portMAX_DELAY);
  HAL_TIM_PWM_Start(&htim1, TIM_CHANNEL_4);

  uint32_t pulse = PWM_MID_POS_PULSE;
  STEERING_DIRECTION direction = LEFT;

  for (;;) {
    ulTaskNotifyTake(pdTRUE, portMAX_DELAY);  // Wait for task activation
    UpdatePWMDutyCycle(&pulse, &direction);
  }

  /* USER CODE END 5 */
}

void Error_Handler(void) {
  /* USER CODE BEGIN Error_Handler_Debug */
  /* User can add his own implementation to report the HAL error return state */
  Print("error\r\n");
  __disable_irq();
  while (1) {
  }
  /* USER CODE END Error_Handler_Debug */
}

#ifdef USE_FULL_ASSERT
/**
 * @brief  Reports the name of the source file and the source line number
 *         where the assert_param error has occurred.
 * @param  file: pointer to the source file name
 * @param  line: assert_param error line source number
 * @retval None
 */
void assert_failed(uint8_t *file, uint32_t line) {
  /* USER CODE BEGIN 6 */
  /* User can add his own implementation to report the file name and line
     number, ex: printf("Wrong parameters value: file %s on line %d\r\n", file,
     line) */
  /* USER CODE END 6 */
}
#endif /* USE_FULL_ASSERT */
